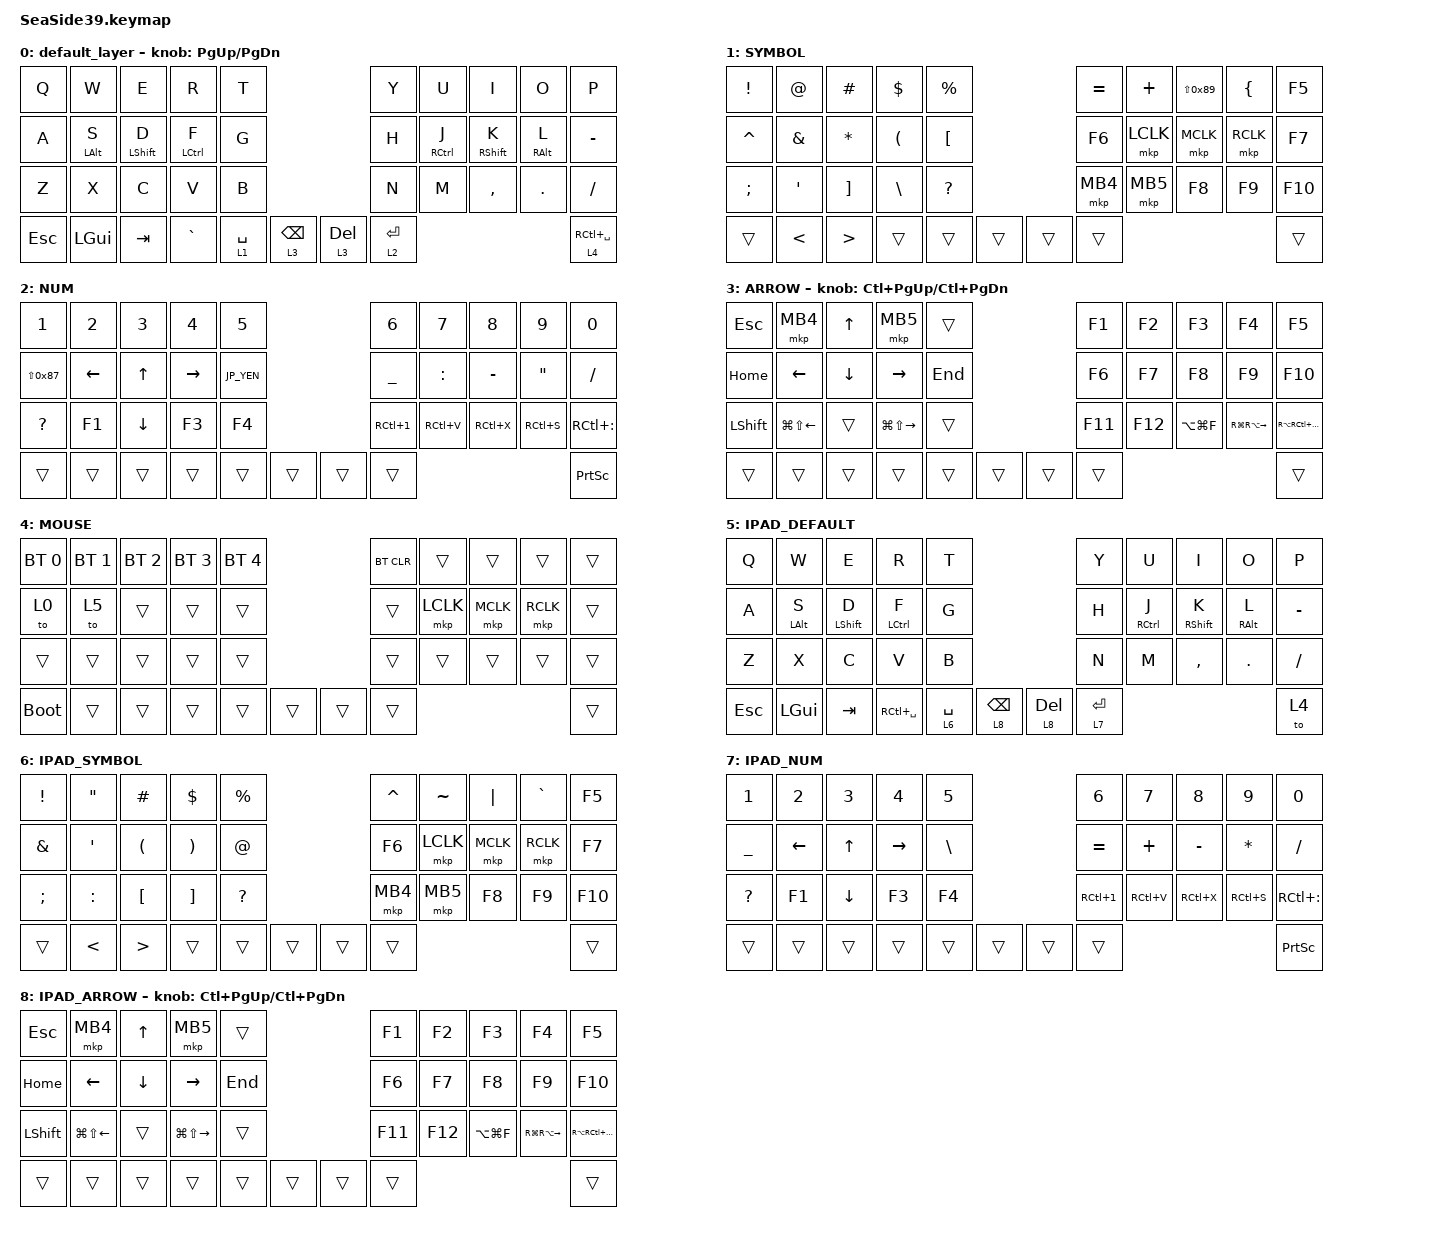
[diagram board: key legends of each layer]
#include <input/processors.dtsi>
#include <behaviors.dtsi>
#include <dt-bindings/zmk/bt.h>
#include <dt-bindings/zmk/keys.h>
#include <dt-bindings/zmk/pointing.h>
#include <dt-bindings/zmk/input_transform.h>

#define MOUSE 4
#define SCROLL 5
#define NUM 6

//以下USキーボードのままJISキーボードとして使うための定義 https://note.com/kloir_z/n/n314e739f03a1

#define JP_DQUOTE       AT                // "
#define JP_AMPERSAND    CARET             // &
#define JP_QUOTE        AMPERSAND         // '
#define JP_EQUAL        UNDER             // =
#define JP_CARET        EQUAL             // ^
#define JP_YEN          0x89              // ¥
#define JP_PLUS         COLON             // +
#define JP_TILDE        PLUS              // ~
#define JP_PIPE         LS(0x89)          // |
#define JP_AT           LEFT_BRACKET      // @
#define JP_COLON        SINGLE_QUOTE      // :
#define JP_ASTERISK     DOUBLE_QUOTES     // *
#define JP_BACKQUOTE    LEFT_BRACE        // `
#define JP_UNDERSCORE   LS(0x87)          // _
#define JP_LBRACKET     RIGHT_BRACKET     // [
#define JP_RBRACKET     BACKSLASH         // ]
#define JP_LPAREN       ASTERISK          // (
#define JP_RPAREN       LEFT_PARENTHESIS  // )
#define JP_LBRACE       RIGHT_BRACE       // {
#define JP_RBRACE       PIPE              // }
#define JP_KANA         LANGUAGE_1        // かな
#define JP_EISU         LANGUAGE_2        // 英数
#define JP_HANZEN       GRAVE             // 半角/全角

&mt {
    flavor = "balanced";
    quick-tap-ms = <300>;
};

&lt {
    flavor = "balanced";
    quick-tap-ms = <300>;
};

/ {
    combos { compatible = "zmk,combos"; };

    macros {
        to_layer_0: to_layer_0 {
            compatible = "zmk,behavior-macro-one-param";
            #binding-cells = <1>;
            bindings = <&to 0 &macro_param_1to1 &kp MACRO_PLACEHOLDER>;
            label = "TO_LAYER_0";
        };
    };

    behaviors {
        lt_to_layer_0: lt_to_layer_0 {
            compatible = "zmk,behavior-hold-tap";
            label = "LAYER_TAP_TO_0";
            bindings = <&mo>, <&to_layer_0>;

            #binding-cells = <2>;
            tapping-term-ms = <200>;
        };
    };

    keymap {
        compatible = "zmk,keymap";

//レイヤー0（PC用 デフォルトレイヤー）

        default_layer {
            bindings = <
&kp Q       &kp W         &kp E             &kp R               &kp T                                           &kp Y        &kp U                &kp I              &kp O            &kp P
&kp A       &mt LALT S    &mt LEFT_SHIFT D  &mt LEFT_CONTROL F  &kp G                                           &kp H        &mt RIGHT_CONTROL J  &mt RIGHT_SHIFT K  &mt RIGHT_ALT L  &kp MINUS
&kp Z       &kp X         &kp C             &kp V               &kp B                                           &kp N        &kp M                &kp COMMA          &kp PERIOD       &kp SLASH
&kp ESCAPE  &kp LEFT_GUI  &kp TAB           &kp GRAVE           &lt 1 SPACE  &lt 3 BACKSPACE      &lt 3 DELETE  &lt 2 ENTER                                                           &lt 4 RC(SPACE)
            >;

            sensor-bindings = <&inc_dec_kp PG_UP PAGE_DOWN>;
        };

//レイヤー1（PC用 SYMBOL：JIS記号系、マウスクリック系）

        SYMBOL {
            bindings = <
&kp EXCLAMATION   &kp JP_DQUOTE  &kp HASH          &kp DOLLAR       &kp PERCENT                       &kp JP_CARET  &kp JP_TILDE  &kp JP_PIPE  &kp JP_BACKQUOTE  &kp F5
&kp JP_AMPERSAND  &kp JP_QUOTE   &kp JP_LPAREN     &kp JP_RPAREN    &kp JP_AT                         &kp F6        &mkp LCLK     &mkp MCLK    &mkp RCLK         &kp F7
&kp SEMICOLON     &kp JP_COLON   &kp JP_LBRACKET   &kp JP_RBRACKET  &kp QUESTION                      &mkp MB4      &mkp MB5      &kp F8       &kp F9            &kp F10
&trans            &kp LESS_THAN  &kp GREATER_THAN  &trans           &trans        &trans      &trans  &trans                                                     &trans
            >;
        };

//レイヤー2（PC用 NUM：数字系）

        NUM {
            bindings = <
&kp NUMBER_1       &kp NUMBER_2  &kp NUMBER_3  &kp NUMBER_4  &kp N5                          &kp NUMBER_6      &kp N7       &kp N8     &kp N9           &kp N0
&kp JP_UNDERSCORE  &kp LEFT      &kp UP        &kp RIGHT     &kp JP_YEN                      &kp JP_EQUAL      &kp JP_PLUS  &kp MINUS  &kp JP_ASTERISK  &kp SLASH
&kp QMARK          &kp F1        &kp DOWN      &kp F3        &kp F4                          &kp RC(NUMBER_1)  &kp RC(V)    &kp RC(X)  &kp RC(S)        &kp RC(COLON)
&trans             &trans        &trans        &trans        &trans      &trans      &trans  &trans                                                     &kp PRINTSCREEN
            >;
        };

//レイヤー3（PC用 ARROW：矢印とファンクション系）

        ARROW {
            bindings = <
&kp ESCAPE      &mkp MB4                &kp UP_ARROW    &mkp MB5                 &trans                       &kp F1   &kp F2   &kp F3         &kp F4                   &kp F5
&kp HOME        &kp LEFT_ARROW          &kp DOWN_ARROW  &kp RIGHT_ARROW          &kp END                      &kp F6   &kp F7   &kp F8         &kp F9                   &kp F10
&kp LEFT_SHIFT  &kp LG(LS(LEFT_ARROW))  &trans          &kp LG(LS(RIGHT_ARROW))  &trans                       &kp F11  &kp F12  &kp LA(LG(F))  &kp RG(RA(RIGHT_ARROW))  &kp RA(RC(RG(RIGHT_ARROW)))
&trans          &trans                  &trans          &trans                   &trans   &trans      &trans  &trans                                                    &trans
            >;

            sensor-bindings = <&inc_dec_kp LC(PAGE_UP) LC(PAGE_DOWN)>;
        };

//レイヤー4（設定系：PC/iPad切り替え）

        MOUSE {
            bindings = <
&bt BT_SEL 0  &bt BT_SEL 1  &bt BT_SEL 2  &bt BT_SEL 3  &bt BT_SEL 4                      &bt BT_CLR  &trans    &trans    &trans    &trans
&to 0         &to 5         &trans        &trans        &trans                            &trans      &mkp LCLK  &mkp MCLK  &mkp RCLK  &trans
&trans        &trans        &trans        &trans        &trans                            &trans      &trans    &trans    &trans    &trans
&bootloader   &trans        &trans        &trans        &trans        &trans      &trans  &trans                                &trans
            >;
        };

//レイヤー5（iPad用 デフォルトレイヤー）
// ※右端を &mo 4（押している間レイヤー4＝設定画面になる）に変更

        IPAD_DEFAULT {
            bindings = <
&kp Q       &kp W         &kp E             &kp R               &kp T                                           &kp Y        &kp U                &kp I              &kp O            &kp P
&kp A       &mt LALT S    &mt LEFT_SHIFT D  &mt LEFT_CONTROL F  &kp G                                           &kp H        &mt RIGHT_CONTROL J  &mt RIGHT_SHIFT K  &mt RIGHT_ALT L  &kp MINUS
&kp Z       &kp X         &kp C             &kp V               &kp B                                           &kp N        &kp M                &kp COMMA          &kp PERIOD       &kp SLASH
&kp ESCAPE  &kp LEFT_GUI  &kp TAB           &kp RC(SPACE)       &lt 6 SPACE  &lt 8 BACKSPACE      &lt 8 DELETE  &lt 7 ENTER                                                           &to 4
            >;
        };

//レイヤー6（iPad用 SYMBOL：US版記号系）

        IPAD_SYMBOL {
            bindings = <
&kp EXCLAMATION   &kp DOUBLE_QUOTES  &kp HASH             &kp DOLLAR        &kp PERCENT                       &kp CARET         &kp TILDE         &kp PIPE          &kp GRAVE         &kp F5
&kp AMPERSAND     &kp SINGLE_QUOTE   &kp LEFT_PARENTHESIS &kp RIGHT_PARENTHESIS &kp AT                        &kp F6            &mkp LCLK         &mkp MCLK         &mkp RCLK         &kp F7
&kp SEMICOLON     &kp COLON          &kp LEFT_BRACKET     &kp RIGHT_BRACKET &kp QUESTION                      &mkp MB4          &mkp MB5          &kp F8            &kp F9            &kp F10
&trans            &kp LESS_THAN      &kp GREATER_THAN     &trans            &trans        &trans      &trans  &trans                                                                  &trans
            >;
        };

//レイヤー7（iPad用 NUM：US版数字系）

        IPAD_NUM {
            bindings = <
&kp NUMBER_1   &kp NUMBER_2  &kp NUMBER_3  &kp NUMBER_4  &kp N5                          &kp NUMBER_6      &kp N7     &kp N8     &kp N9        &kp N0
&kp UNDERSCORE &kp LEFT      &kp UP        &kp RIGHT     &kp BACKSLASH                   &kp EQUAL         &kp PLUS   &kp MINUS  &kp ASTERISK  &kp SLASH
&kp QMARK      &kp F1        &kp DOWN      &kp F3        &kp F4                          &kp RC(NUMBER_1)  &kp RC(V)  &kp RC(X)  &kp RC(S)     &kp RC(COLON)
&trans         &trans        &trans        &trans        &trans      &trans      &trans  &trans                                                &kp PRINTSCREEN
            >;
        };

//レイヤー8（iPad用 ARROW：US版矢印・ファンクション系）

        IPAD_ARROW {
            bindings = <
&kp ESCAPE      &mkp MB4                &kp UP_ARROW    &mkp MB5                 &trans                       &kp F1   &kp F2   &kp F3         &kp F4                   &kp F5
&kp HOME        &kp LEFT_ARROW          &kp DOWN_ARROW  &kp RIGHT_ARROW          &kp END                      &kp F6   &kp F7   &kp F8         &kp F9                   &kp F10
&kp LEFT_SHIFT  &kp LG(LS(LEFT_ARROW))  &trans          &kp LG(LS(RIGHT_ARROW))  &trans                       &kp F11  &kp F12  &kp LA(LG(F))  &kp RG(RA(RIGHT_ARROW))  &kp RA(RC(RG(RIGHT_ARROW)))
&trans          &trans                  &trans          &trans                   &trans   &trans      &trans  &trans                                                    &trans
            >;

            sensor-bindings = <&inc_dec_kp LC(PAGE_UP) LC(PAGE_DOWN)>;
        };
    };
};

//トラックボールのスクロール設定（レイヤー3：PC用 と レイヤー8：iPad用 に適用）
&trackball_listener {
    scroller {
        layers = <3 8>;
        input-processors = <
            &zip_xy_to_scroll_mapper
            &zip_scroll_scaler 1 1000 /* スクロール量 1/1000 */
            &zip_scroll_transform INPUT_TRANSFORM_Y_INVERT
        >;
    };
};
